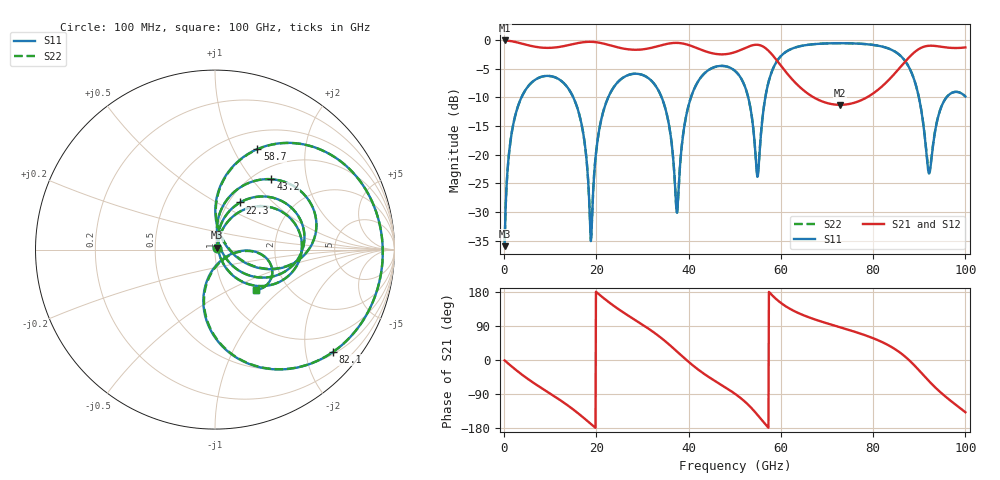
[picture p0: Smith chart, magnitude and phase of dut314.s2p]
! Touchstone file exported from HFSS 2026.1.0
!  File:  C:/ffzhzh/LocalFiles/Ansys_Project_Files/temp_train_TSV_RDL_314_1783700016_45496.aedt
!  Generated:  12:21:03 AM Jul 11, 2026
!  Design:  TSV_RDL
!  Project:  temp_train_TSV_RDL_314_1783700016_45496
! Variables:
!  h_bsmrdl = 3.42um
!  h_ox = 20um
!  h_rdl = 5um
!  h_sub = 65.87um
!  h_tmrdl = 4.83um
!  h_tsv = 65.87um
!  h_via = 3um
!  l_bsmrdl = 141.28um
!  l_sub = 2992.32um
!  l_tmrdl = 512.96um
!  m_sub = 200um
!  pitch = 46.67um
!  r_tsv = 12.39um
!  s_tmrdl = 10um
!  w_bsmrdl = 22.32um
!  w_sub = 500um
!  w_tmrdl = 16.56um
!  x_tsv_center1 = 521.24um
!  x_tsv_center2 = 684.84um
!  x_tsv_center3 = 1214.36um
!  x_tsv_center4 = 1377.96um
!  x_tsv_center5 = 1907.48um
!  x_tsv_center6 = 2071.08um
# GHz S MA R 50.000000
! Terminal data exported
! Port[1] = TM_RDL1_1_T1
! Port[2] = TM_RDL5_1_T1
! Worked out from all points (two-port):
!   1000 points, 100 MHz to 100 GHz, reference 50 ohm
!   highest |S21| = -0.11 dB at 100 MHz (marker M1); lowest = -11.3 dB at 72.8 GHz (marker M2)
!   |S21| within 3 dB of the highest: start of sweep to 58.64 GHz; 87.72 GHz to end of sweep
!   lowest |S11| = -36.0 dB at 100 MHz (marker M3), VSWR 1.03, Z = 51.2 + j1.04 ohm
!   |S11| at or under -10 dB: 14.98 GHz to 22.58 GHz (7.597 GHz wide, 40.5 % of centre); 34.13 GHz to 40.51 GHz (6.377 GHz wide, 17.1 % of centre); 89.91 GHz to 95.93 GHz (6.025 GHz wide, 6.48 % of centre) (the widest 3 of 5)
!   |S22| runs from -36.0 to -0.6 dB; largest |S21 - S12| = 9.4e-13
!   S11 on the Smith chart (normalised r, x): 100 MHz: 1.02, +0.02; 22.3 GHz: 1.13, +0.65; 43.2 GHz: 1.19, +1.24; 58.7 GHz: 0.70, +1.25; 82.1 GHz: 0.55, -2.58; 100 GHz: 1.38, -0.70
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0.1  0.01593 39.6  0.9879 -1.1  0.9879 -1.1  0.01593 39.6
! Gamma 0 0 0 0
! Port Impedance 50 0 50 0
1.7  0.1599 66.4  0.971 -17.7  0.971 -17.7  0.1599 66.4
5.1  0.3892 37.3  0.8995 -49.6  0.8995 -49.6  0.3892 37.3
11.8  0.4553 -14.2  0.8656 -103.1  0.8656 -103.1  0.4553 -14.1
16.8  0.1824 -54.8  0.9494 -148.2  0.9494 -148.2  0.1823 -54.6
18.9  0.01904 31.7  0.961 -169.7  0.961 -169.7  0.01982 31.1
22.3  0.2974 62.0  0.9114 156.2  0.9114 156.2  0.2975 61.9
33.4  0.3655 -23.6  0.8825 64.3  0.8825 64.3  0.3655 -23.6
37.5  0.03122 29.1  0.9409 22.1  0.9409 22.1  0.0312 29.2
39.6  0.231 80.8  0.9115 -0.8  0.9115 -0.8  0.2311 80.8
43.2  0.4998 51.7  0.8062 -35.3  0.8062 -35.3  0.4998 51.8
50.1  0.5341 1.9  0.7827 -89.6  0.7827 -89.6  0.5341 2.1
54.9  0.06395 27.9  0.9061 -144.4  0.9061 -144.4  0.06683 28.4
58.7  0.6076 67.2  0.6947 163.8  0.6947 163.8  0.6082 67.0
66.7  0.9131 17.9  0.3226 109.8  0.3226 109.8  0.9133 17.9
72.8  0.9352 -3.8  0.2714 86.5  0.2714 86.5  0.9354 -3.8
82.1  0.8708 -40.8  0.3988 46.4  0.3988 46.4  0.871 -40.7
83.4  0.8386 -48.2  0.4479 38.4  0.4479 38.4  0.8388 -48.1
88.8  0.4615 -92.2  0.7706 -12.4  0.7706 -12.4  0.4621 -91.7
92.1  0.06835 -55.4  0.8882 -55.7  0.8882 -55.7  0.07185 -55.1
95.2  0.2841 -8.6  0.8654 -91.6  0.8654 -91.6  0.2847 -8.9
100  0.3207 -45.2  0.8588 -137.8  0.8588 -137.8  0.3212 -45.0
